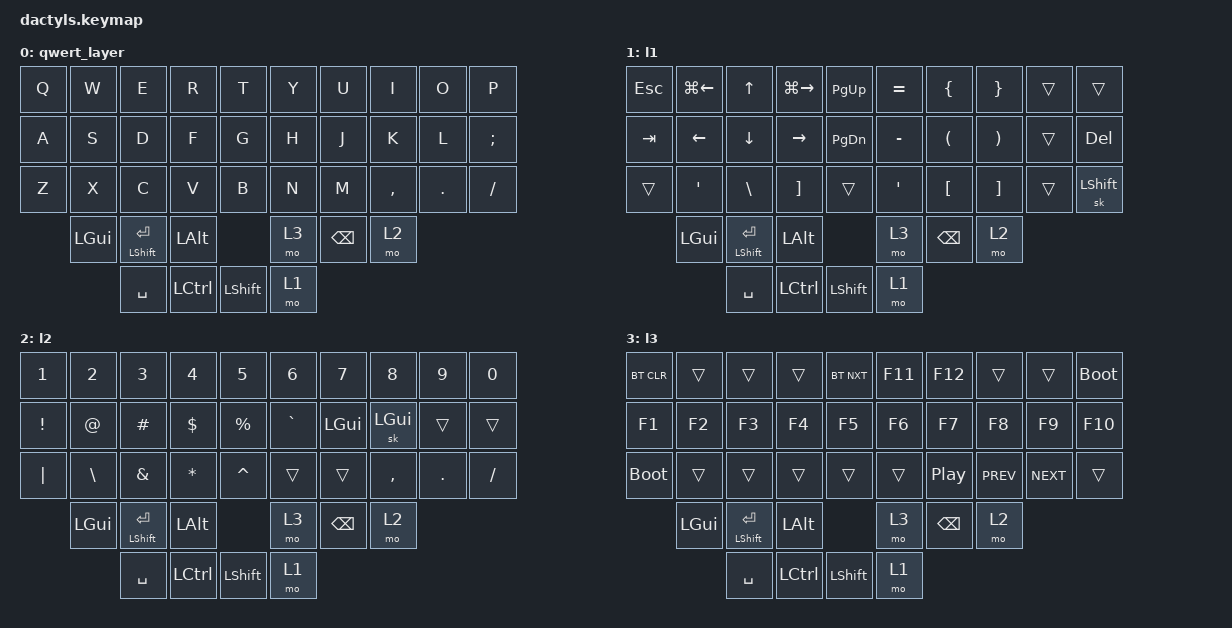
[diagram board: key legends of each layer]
#include <behaviors.dtsi>
#include <dt-bindings/zmk/bt.h>
#include <dt-bindings/zmk/keys.h>


#define DEFAULT 0
#define l1 1
#define l2 2
#define l3 3

&lt {
        flavor = "balanced";
        tapping-term-ms = <150>;
};

/ {
       behaviors {
                td0: tap_dance_0 {
                        compatible = "zmk,behavior-tap-dance";
                        label = "TAP_DANCE_0";
                        #binding-cells = <0>;
                        tapping-term-ms = <200>;
                        bindings = <&kp LSHIFT>, <&kp CAPS>;
                };
                mo_tog: behavior_mo_tog {
                        compatible = "zmk,behavior-hold-tap";
                        label = "mo_tog";
                        flavor = "hold-preferred";
                        #binding-cells = <2>;
                        tapping-term-ms = <200>;
                        bindings = <&mo>, <&tog>;
                };        
        };


	keymap {
		compatible = "zmk,keymap";

		qwert_layer {
			bindings = <
                   &kp Q   &kp W   &kp E    &kp R         &kp T              &kp Y      &kp U    &kp I        &kp O      &kp P
                   &kp A   &kp S   &kp D    &kp F         &kp G              &kp H      &kp J    &kp K        &kp L      &kp SEMI
                   &kp Z   &kp X   &kp C    &kp V         &kp B              &kp N      &kp M    &kp COMMA    &kp DOT    &kp FSLH
		                   &kp LGUI &mt LSHFT RET     &kp LALT          &mo 3     &kp BSPC     &mo 2
		                            &kp SPACE &kp LCTRL           &kp LSHFT   &mo 1 
			>;
		};

		l1 {
			bindings = <
                &kp ESC  &kp LG(LEFT) &kp UP    &kp LG(RIGHT)  &kp PG_UP              &kp EQUAL  &kp LBRC  &kp RBRC  &trans    &trans    
                &kp TAB  &kp LEFT     &kp DOWN  &kp RIGHT      &kp PAGE_DOWN          &kp MINUS  &kp LPAR  &kp RPAR  &trans    &kp DEL     
                &trans   &kp SQT      &kp BSLH  &kp RBKT       &trans                 &kp SQT    &kp LBKT  &kp RBKT  &trans    &sk LSHFT 
                                       &kp LGUI &mt LSHFT RET     &kp LALT          &mo 3     &kp BSPC     &mo 2
		                            &kp SPACE &kp LCTRL           &kp LSHFT   &mo 1 
                        >; 
                };

		l2 {
			bindings = <
                &kp N1     &kp N2      &kp N3    &kp N4        &kp N5            &kp N6     &kp N7    &kp N8      &kp N9      &kp N0
                &kp EXCL   &kp AT      &kp HASH  &kp DLLR      &kp PRCNT         &kp GRAVE  &kp LGUI  &sk LGUI    &trans      &trans  
                &kp PIPE   &kp BSLH    &kp AMPS  &kp STAR      &kp CARET         &trans     &trans    &kp COMMA   &kp DOT     &kp FSLH  
                                        &kp LGUI &mt LSHFT RET     &kp LALT          &mo 3     &kp BSPC     &mo 2
		                            &kp SPACE &kp LCTRL           &kp LSHFT   &mo 1 
                        >;
                };

                l3 {
			bindings = <
                &bt BT_CLR  &trans   &trans   &trans        &bt BT_NXT         &kp F11     &kp F12  &trans      &trans      &bootloader  
                &kp F1      &kp F2   &kp F3   &kp F4        &kp F5             &kp F6     &kp F7    &kp F8      &kp F9      &kp F10
                &bootloader &trans   &trans   &trans        &trans             &trans     &kp C_PP  &kp C_PREV  &kp C_NEXT  &trans
                                     &kp LGUI &mt LSHFT RET     &kp LALT          &mo 3     &kp BSPC     &mo 2
		                            &kp SPACE &kp LCTRL           &kp LSHFT   &mo 1 
                        >; 
                };
                
        };
};
